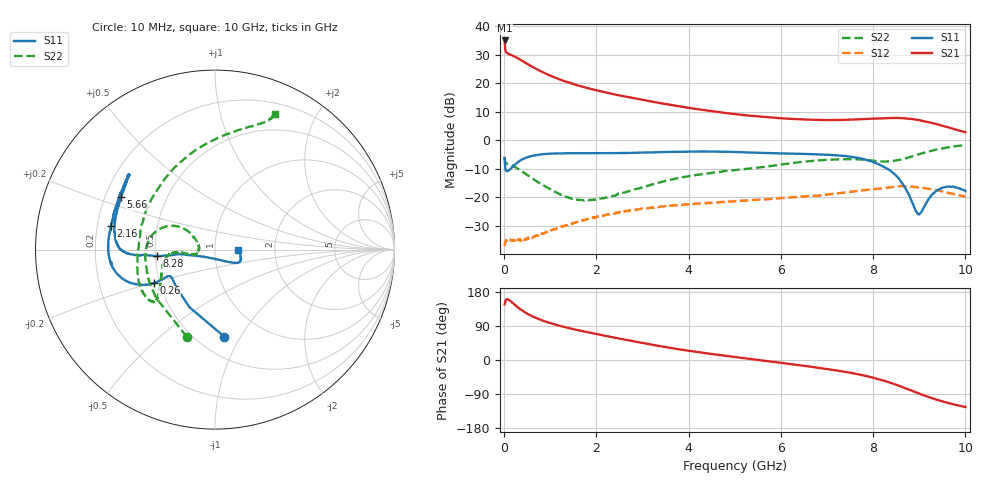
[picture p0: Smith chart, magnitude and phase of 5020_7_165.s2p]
# Hz S  dB  R 50
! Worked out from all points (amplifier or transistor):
!   1000 points, 10 MHz to 10 GHz, reference 50 ohm
!   highest |S21| = 34.9 dB at 10 MHz (marker M1)
!   |S21| within 3 dB of that: start of sweep to 24.73 MHz
!   unconditionally stable (mu >= 1): 48.4 MHz to end of sweep
!   at 1.67 GHz: K = 1.14, MAG = 21.3 dB, |S12| = -28.2 dB
!   at 5.01 GHz: K = 1.10, MAG = 13.3 dB, |S12| = -21.3 dB
!   at 10 GHz: K = 1.14, MAG = 9.0 dB, |S12| = -19.8 dB
!   S11 on the Smith chart (normalised r, x): 10 MHz: 0.67, -0.86; 260 MHz: 0.46, -0.20; 2.16 GHz: 0.26, +0.11; 5.66 GHz: 0.27, +0.24; 8.28 GHz: 0.51, -0.04; 10 GHz: 1.30, -0.00
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1e7  -6.24 -83.9  34.95 146.9  -37.06 23.2  -5.84 -107.9
7e7  -10.82 -147.9  30.47 160.3  -35.29 8.3  -8.19 -175.1
8e7  -10.73 -149.1  30.37 159.9  -35.06 7.3  -8.25 -177.5
1.1e8  -10.44 -150.6  30.16 157.9  -35.15 7.5  -8.40 176.5
2.6e8  -8.17 -151.3  29.04 142.7  -35.06 15.6  -9.59 160.0
3.7e8  -6.88 -154.4  28.01 132.3  -35.14 17.4  -10.72 153.2
5.1e8  -5.87 -158.6  26.66 121.5  -34.55 24.3  -12.25 148.0
6.3e8  -5.39 -162.4  25.56 114.0  -33.91 28.5  -13.57 146.2
7.8e8  -4.99 -166.4  24.28 106.4  -32.93 34.5  -15.10 145.9
9.6e8  -4.73 -170.6  22.92 98.8  -31.91 39.0  -16.73 148.1
1.15e9  -4.59 -174.5  21.64 92.0  -30.65 41.6  -18.43 153.0
1.68e9  -4.49 175.9  18.85 76.6  -28.20 43.4  -20.91 172.8
2.16e9  -4.52 167.1  16.89 64.5  -26.42 40.4  -20.29 -170.9
3.34e9  -4.17 146.1  13.13 37.3  -23.42 27.7  -14.93 -174.1
3.94e9  -3.96 139.8  11.51 25.3  -22.42 20.3  -12.76 -175.8
5.01e9  -4.10 142.0  9.17 7.8  -21.30 9.8  -10.41 -164.3
5.66e9  -4.44 150.6  8.12 -2.2  -20.66 3.6  -9.27 -150.9
6.67e9  -4.85 168.7  7.18 -18.1  -19.50 -6.9  -7.27 -139.0
8.28e9  -9.75 -173.9  7.73 -56.2  -16.65 -38.3  -7.45 169.6
8.34e9  -10.30 -173.4  7.76 -58.5  -16.55 -39.7  -7.33 164.1
8.98e9  -25.88 -107.2  7.11 -87.7  -16.46 -66.9  -4.94 100.7
1e10  -17.77 -0.5  2.81 -124.1  -19.76 -101.1  -1.68 66.3
